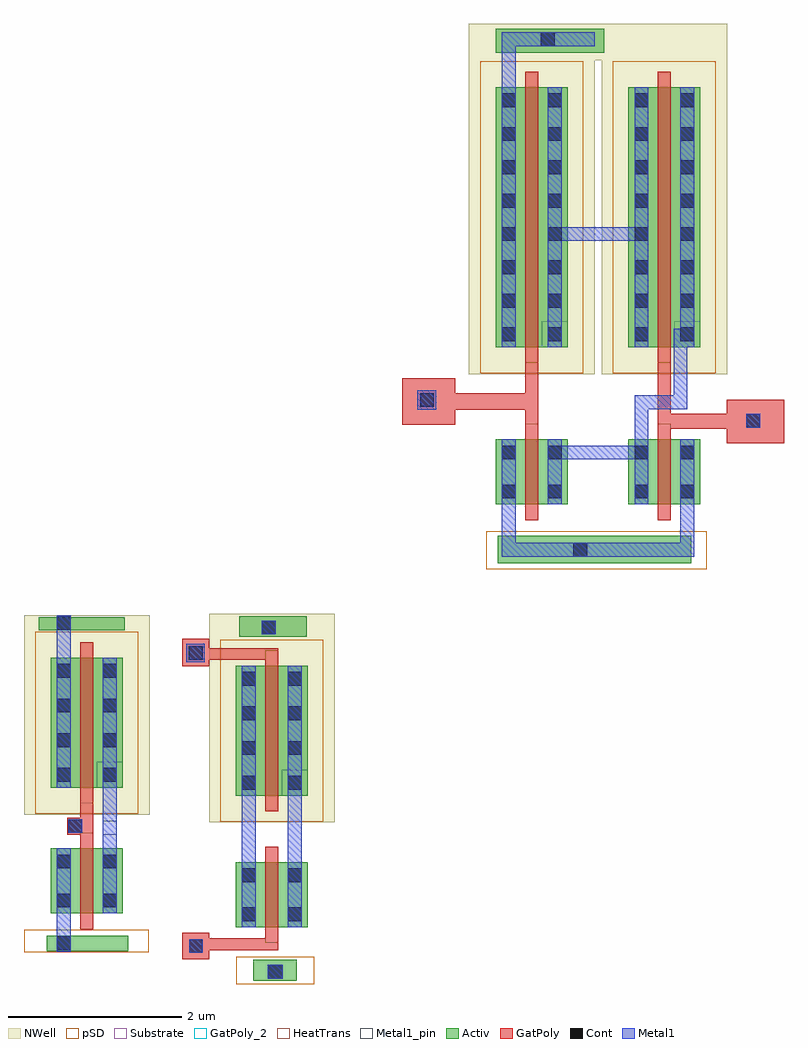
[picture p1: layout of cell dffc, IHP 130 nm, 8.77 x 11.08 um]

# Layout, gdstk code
import gdstk
lib = gdstk.Library(unit=1e-6, precision=5e-09)
def R(c, l, rs):  # rectangles x0, y0, x1, y1
    for r in rs: c.add(gdstk.rectangle(r[:2], r[2:], *l))
def A(c, l, x, y, w, h, nx, ny, dx, dy):  # array of equal rectangles
    R(c, l, [(x+i*dx, y+j*dy, x+i*dx+w, y+j*dy+h) for i in range(nx) for j in range(ny)])
def P(c, l, *ps):  # polygons
    for p in ps: c.add(gdstk.Polygon(p, *l))
Activ = (1, 0)
GatPoly = (5, 0)
GatPoly_2 = (5, 2)
Cont = (6, 0)
Metal1 = (8, 0)
Metal1_pin = (8, 2)
pSD = (14, 0)
NWell = (31, 0)
Substrate = (40, 0)
HeatTrans = (51, 0)

nmos = lib.new_cell('nmos')
R(nmos, Activ, [(0,0,0.3,0.3), (0,0,0.83,0.75), (0.53,0,0.83,0.3)])
R(nmos, GatPoly, [(0.34,-0.18,0.49,0.93)])
R(nmos, GatPoly_2, [(0.34,-0.18,0.49,0.93)])
R(nmos, Cont, [(0.07,0.07,0.23,0.23), (0.6,0.07,0.76,0.23), (0.07,0.52,0.23,0.68), (0.6,0.52,0.76,0.68)])
R(nmos, Metal1, [(0.07,0,0.23,0.75), (0.6,0,0.76,0.75)])
R(nmos, Metal1_pin, [(0.07,0,0.23,0.75), (0.6,0,0.76,0.75)])
R(nmos, HeatTrans, [(0.34,-0.18,0.49,0.93)])
nmos.add(gdstk.Label('nmos', (0.415,0.375), layer=63, texttype=0))
nmos.add(gdstk.Label('nmos', (0.415,0.375), layer=51, texttype=0))

pmos_1 = lib.new_cell('pmos$1')
R(pmos_1, Activ, [(0,0,0.3,0.3), (0,0,0.83,1.5), (0.53,0,0.83,0.3)])
R(pmos_1, GatPoly, [(0.34,-0.18,0.49,1.68), (0.34,-0.18,0.49,1.68)])
A(pmos_1, Cont, 0.07, 0.07, 0.16, 0.16, 1, 4, 0, 0.4)
A(pmos_1, Cont, 0.6, 0.07, 0.16, 0.16, 1, 4, 0, 0.4)
R(pmos_1, Metal1, [(0.07,0,0.23,1.5), (0.07,0,0.23,1.5), (0.6,0,0.76,1.5), (0.6,0,0.76,1.5)])
R(pmos_1, pSD, [(-0.18,-0.3,1.01,1.8)])
R(pmos_1, NWell, [(-0.31,-0.31,1.14,1.81)])
R(pmos_1, Substrate, [(0.53,0,0.83,0.3)])
R(pmos_1, HeatTrans, [(0.34,-0.18,0.49,1.68)])
pmos_1.add(gdstk.Label('pmos', (0.415,0.75), layer=63, texttype=0))
pmos_1.add(gdstk.Label('pmos', (0.415,0.75), layer=51, texttype=0))

inverter = lib.new_cell('inverter')
R(inverter, Activ, [(-0.48,-0.875,0.465,-0.7), (-0.57,2.83,0.42,2.98)])
R(inverter, GatPoly, [(-0.09,0.305,0.06,0.83), (-0.24,0.47,0.06,0.665)])
R(inverter, Cont, [(-0.36,-0.865,-0.2,-0.705), (-0.23,0.49,-0.07,0.65), (-0.36,2.835,-0.2,2.995)])
R(inverter, Metal1, [(-0.36,-0.88,-0.2,-0.365), (0.17,0.065,0.33,1.01), (-0.23,0.49,-0.07,0.65), (-0.36,2.465,-0.2,2.995)])
R(inverter, Metal1_pin, [(-0.36,-0.425,-0.2,-0.2), (0.17,0.47,0.33,0.63), (-0.23,0.49,-0.07,0.65), (-0.36,2.835,-0.2,2.995)])
R(inverter, pSD, [(-0.74,-0.89,0.7,-0.63)])
R(inverter, NWell, [(-0.74,2.82,0.71,3)])
inverter.add(gdstk.Reference(nmos, (-0.43,-0.44)))
inverter.add(gdstk.Reference(pmos_1, (-0.43,1.01)))
inverter.add(gdstk.Label('out', (0.21,0.47), layer=8, texttype=2))
inverter.add(gdstk.Label('VSS', (-0.26,-0.335), layer=8, texttype=2))
inverter.add(gdstk.Label('VDD', (-0.26,2.92), layer=8, texttype=2))
inverter.add(gdstk.Label('in', (-0.125,0.555), layer=8, texttype=2))

nmos_2 = lib.new_cell('nmos$2')
R(nmos_2, Activ, [(0,0,0.3,0.3), (0,0,0.83,0.75), (0.53,0,0.83,0.3)])
R(nmos_2, GatPoly, [(0.34,-0.18,0.49,0.93)])
R(nmos_2, GatPoly_2, [(0.34,-0.18,0.49,0.93)])
R(nmos_2, Cont, [(0.07,0.07,0.23,0.23), (0.6,0.07,0.76,0.23), (0.07,0.52,0.23,0.68), (0.6,0.52,0.76,0.68)])
R(nmos_2, Metal1, [(0.07,0,0.23,0.75), (0.6,0,0.76,0.75)])
R(nmos_2, Metal1_pin, [(0.07,0,0.23,0.75), (0.6,0,0.76,0.75)])
R(nmos_2, HeatTrans, [(0.34,-0.18,0.49,0.93)])
nmos_2.add(gdstk.Label('nmos', (0.415,0.375), layer=63, texttype=0))
nmos_2.add(gdstk.Label('nmos', (0.415,0.375), layer=51, texttype=0))

pmos_1_1 = lib.new_cell('pmos$1$1')
R(pmos_1_1, Activ, [(0,0,0.3,0.3), (0,0,0.83,3), (0.53,0,0.83,0.3)])
R(pmos_1_1, GatPoly, [(0.34,-0.18,0.49,3.18), (0.34,-0.18,0.49,3.18)])
A(pmos_1_1, Cont, 0.07, 0.07, 0.16, 0.16, 1, 7, 0, 0.385)
A(pmos_1_1, Cont, 0.6, 0.07, 0.16, 0.16, 1, 7, 0, 0.385)
R(pmos_1_1, Cont, [(0.07,2.77,0.23,2.93), (0.6,2.77,0.76,2.93)])
R(pmos_1_1, Metal1, [(0.07,0,0.23,3), (0.07,0,0.23,3), (0.6,0,0.76,3), (0.6,0,0.76,3)])
R(pmos_1_1, pSD, [(-0.18,-0.3,1.01,3.3)])
R(pmos_1_1, NWell, [(-0.31,-0.31,1.14,3.31)])
R(pmos_1_1, Substrate, [(0.53,0,0.83,0.3)])
R(pmos_1_1, HeatTrans, [(0.34,-0.18,0.49,3.18)])
pmos_1_1.add(gdstk.Label('pmos', (0.415,1.5), layer=63, texttype=0))
pmos_1_1.add(gdstk.Label('pmos', (0.415,1.5), layer=51, texttype=0))

nor2 = lib.new_cell('nor2')
R(nor2, Activ, [(-2.29,-1.185,-0.055,-0.865), (-2.31,4.705,-1.06,4.985)])
R(nor2, GatPoly, [(0.355,0.2,1.015,0.705), (-0.44,0.37,0.355,0.54), (-3.39,0.415,-2.78,0.95), (-1.97,0.425,-1.82,1.13), (-0.44,0.425,-0.29,1.13), (-2.78,0.585,-1.82,0.78)])
P(nor2, GatPoly, [(-0.52,1.13),(-0.52,1.13),(-0.37,1.13),(-0.37,1.13)])
R(nor2, Cont, [(-1.415,-1.11,-1.255,-0.95), (0.58,0.38,0.74,0.54), (-3.185,0.62,-3.025,0.78), (-1.79,4.785,-1.63,4.945)])
R(nor2, Metal1, [(-2.24,-1.11,-2.08,-0.275), (-2.08,-1.11,-0.18,-0.95), (-1.415,-1.11,-1.255,-0.95), (-0.18,-1.11,-0.02,-0.285), (-1.71,0.015,-0.62,0.175), (-0.71,0.02,-0.55,0.755), (0.58,0.38,0.74,0.54), (-3.215,0.59,-2.995,0.81), (-0.71,0.595,-0.1,0.755), (-0.26,0.595,-0.1,1.52), (-1.71,2.535,-0.63,2.695), (-2.24,4.085,-2.08,4.945), (-2.24,4.78,-1.17,4.945), (-1.79,4.785,-1.635,4.945)])
R(nor2, Metal1_pin, [(-1.415,-1.11,-1.255,-0.95), (-1.71,0.02,-1.55,0.175), (0.58,0.38,0.74,0.54), (-3.215,0.59,-2.995,0.81), (-1.785,4.785,-1.63,4.945)])
R(nor2, pSD, [(-2.42,-1.255,0.125,-0.815)])
R(nor2, NWell, [(-2.62,4.62,0.36,5.04)])
nor2.add(gdstk.Reference(nmos_2, (-2.31,-0.505)))
nor2.add(gdstk.Reference(pmos_1_1, (-0.78,1.31)))
nor2.add(gdstk.Reference(pmos_1_1, (-2.31,1.31)))
nor2.add(gdstk.Reference(pmos_1_1, (-2.31,1.31)))
nor2.add(gdstk.Reference(nmos_2, (-0.78,-0.505)))
nor2.add(gdstk.Label('A', (-3.085,0.68), layer=8, texttype=2))
nor2.add(gdstk.Label('B', (0.66,0.46), layer=8, texttype=2))
nor2.add(gdstk.Label('VSS', (-1.39,-1.055), layer=8, texttype=2))
nor2.add(gdstk.Label('vdd', (-1.71,4.865), layer=8, texttype=2))
nor2.add(gdstk.Label('out', (-1.65,0.08), layer=8, texttype=2))

pmos_1_3 = lib.new_cell('pmos$1$3')
R(pmos_1_3, Activ, [(0,0,0.3,0.3), (0,0,0.83,1.5), (0.53,0,0.83,0.3)])
R(pmos_1_3, GatPoly, [(0.34,-0.18,0.49,1.68), (0.34,-0.18,0.49,1.68)])
A(pmos_1_3, Cont, 0.07, 0.07, 0.16, 0.16, 1, 4, 0, 0.4)
A(pmos_1_3, Cont, 0.6, 0.07, 0.16, 0.16, 1, 4, 0, 0.4)
R(pmos_1_3, Metal1, [(0.07,0,0.23,1.5), (0.07,0,0.23,1.5), (0.6,0,0.76,1.5), (0.6,0,0.76,1.5)])
R(pmos_1_3, pSD, [(-0.18,-0.3,1.01,1.8)])
R(pmos_1_3, NWell, [(-0.31,-0.31,1.14,1.81)])
R(pmos_1_3, Substrate, [(0.53,0,0.83,0.3)])
R(pmos_1_3, HeatTrans, [(0.34,-0.18,0.49,1.68)])
pmos_1_3.add(gdstk.Label('pmos', (0.415,0.75), layer=63, texttype=0))
pmos_1_3.add(gdstk.Label('pmos', (0.415,0.75), layer=51, texttype=0))

nmos_1_1 = lib.new_cell('nmos$1$1')
R(nmos_1_1, Activ, [(0,0,0.3,0.3), (0,0,0.83,0.75), (0.53,0,0.83,0.3)])
R(nmos_1_1, GatPoly, [(0.34,-0.18,0.49,0.93)])
R(nmos_1_1, GatPoly_2, [(0.34,-0.18,0.49,0.93)])
R(nmos_1_1, Cont, [(0.07,0.07,0.23,0.23), (0.6,0.07,0.76,0.23), (0.07,0.52,0.23,0.68), (0.6,0.52,0.76,0.68)])
R(nmos_1_1, Metal1, [(0.07,0,0.23,0.75), (0.6,0,0.76,0.75)])
R(nmos_1_1, Metal1_pin, [(0.07,0,0.23,0.75), (0.6,0,0.76,0.75)])
R(nmos_1_1, HeatTrans, [(0.34,-0.18,0.49,0.93)])
nmos_1_1.add(gdstk.Label('nmos', (0.415,0.375), layer=63, texttype=0))
nmos_1_1.add(gdstk.Label('nmos', (0.415,0.375), layer=51, texttype=0))

tg_1 = lib.new_cell('tg$1')
R(tg_1, Activ, [(-0.79,-0.42,-0.285,-0.18), (-0.95,3.55,-0.175,3.785)])
R(tg_1, GatPoly, [(-1.61,-0.175,-1.3,0.13), (-1.3,-0.07,-0.5,0.07), (-1.61,3.21,-1.3,3.525), (-1.3,3.285,-0.5,3.415)])
R(tg_1, Cont, [(-0.62,-0.4,-0.45,-0.235), (-1.53,-0.1,-1.37,0.06), (-1.535,3.28,-1.375,3.44), (-0.69,3.575,-0.53,3.735), (-0.69,3.575,-0.53,3.735)])
R(tg_1, Metal1, [(-0.62,-0.4,-0.45,-0.235), (-1.53,-0.1,-1.37,0.06), (-0.92,0.715,-0.76,0.875), (-0.39,0.715,-0.23,0.875), (-0.92,0.945,-0.76,1.715), (-0.39,0.945,-0.23,1.715), (-1.565,3.255,-1.35,3.47), (-0.69,3.575,-0.53,3.735)])
R(tg_1, Metal1_pin, [(-0.62,-0.4,-0.45,-0.235), (-1.53,-0.1,-1.37,0.06), (-0.92,0.715,-0.76,0.875), (-0.39,0.715,-0.23,0.875), (-1.535,3.28,-1.375,3.44), (-0.69,3.575,-0.53,3.735)])
R(tg_1, pSD, [(-0.985,-0.46,-0.085,-0.145)])
R(tg_1, NWell, [(-1.3,3.525,0.15,3.815)])
tg_1.add(gdstk.Reference(pmos_1_3, (-0.99,1.715)))
tg_1.add(gdstk.Reference(nmos_1_1, (-0.99,0.195)))
tg_1.add(gdstk.Label('vdd', (-0.61,3.64), layer=8, texttype=2))
tg_1.add(gdstk.Label('in', (-0.85,0.8), layer=8, texttype=2))
tg_1.add(gdstk.Label('out', (-0.315,0.755), layer=8, texttype=2))
tg_1.add(gdstk.Label('E', (-1.415,0), layer=8, texttype=2))
tg_1.add(gdstk.Label('E_n', (-1.48,3.35), layer=8, texttype=2))
tg_1.add(gdstk.Label('vss', (-0.555,-0.345), layer=8, texttype=2))

dffc = lib.new_cell('dffc')
dffc.add(gdstk.Reference(inverter, (-7.015,0)))
dffc.add(gdstk.Reference(nor2, (0,4.785)))
dffc.add(gdstk.Reference(tg_1, (-4.32,-0.795)))

lib.write_gds('dffc.gds')
